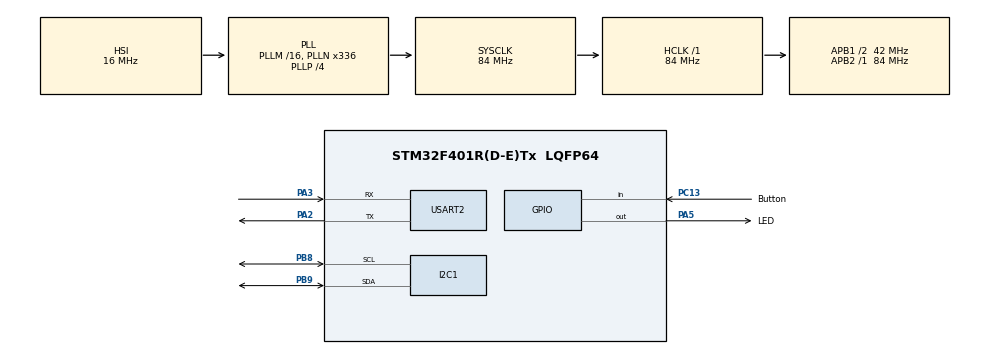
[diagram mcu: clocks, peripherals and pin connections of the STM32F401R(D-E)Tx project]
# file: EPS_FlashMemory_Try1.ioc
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Mcu.Family=STM32F4
Mcu.Name=STM32F401R(D-E)Tx
Mcu.Package=LQFP64
NVIC.PriorityGroup=NVIC_PRIORITYGROUP_0
PA2.Mode=Asynchronous
PA2.Signal=USART2_TX
PA3.Mode=Asynchronous
PA3.Signal=USART2_RX
PA5.GPIO_Label=LED
PA5.Signal=GPIO_Output
PB8.Mode=I2C
PB8.Signal=I2C1_SCL
PB9.Mode=I2C
PB9.Signal=I2C1_SDA
PC13-ANTI_TAMP.GPIO_Label=Button
PC13-ANTI_TAMP.Signal=GPIO_Input
ProjectManager.HeapSize=0x200
ProjectManager.StackSize=0x400
ProjectManager.TargetToolchain=STM32CubeIDE
RCC.48MHZClocksFreq_Value=48000000
RCC.AHBFreq_Value=84000000
RCC.APB1CLKDivider=RCC_HCLK_DIV2
RCC.APB1Freq_Value=42000000
RCC.APB1TimFreq_Value=84000000
RCC.APB2Freq_Value=84000000
RCC.APB2TimFreq_Value=84000000
RCC.CortexFreq_Value=84000000
RCC.HCLKFreq_Value=84000000
RCC.HSE_VALUE=8000000
RCC.HSI_VALUE=16000000
RCC.LSE_VALUE=32768
RCC.PLLN=336
RCC.PLLP=RCC_PLLP_DIV4
RCC.PLLQ=7
RCC.SYSCLKFreq_VALUE=84000000
RCC.SYSCLKSource=RCC_SYSCLKSOURCE_PLLCLK
RCC.VCOOutputFreq_Value=336000000
USART2.VirtualMode=VM_ASYNC
board=NUCLEO-F401RE

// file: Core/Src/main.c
/* USER CODE BEGIN Header */
/**
  ******************************************************************************
  * @file           : main.c
  * @brief          : Main program body
  ******************************************************************************
  * @attention
  *
  * Copyright (c) 2023 STMicroelectronics.
  * All rights reserved.
  *
  * This software is licensed under terms that can be found in the LICENSE file
  * in the root directory of this software component.
  * If no LICENSE file comes with this software, it is provided AS-IS.
  *
  ******************************************************************************
  */
/* USER CODE END Header */
#include "main.h"

/* USER CODE BEGIN Includes */
#include "MY_FLASH.h"

#include <string.h>
#include <stdio.h>
/* USER CODE END Includes */

 I2C_HandleTypeDef hi2c1;

UART_HandleTypeDef huart2;

void SystemClock_Config(void);
static void MX_GPIO_Init(void);
static void MX_USART2_UART_Init(void);
static void MX_I2C1_Init(void);

/* USER CODE BEGIN 0 */
uint8_t myTestWrite[6]= {'G','U','V','I','N','D'} ;
uint8_t myTestRead[6];

char uartBuf[100];
/* USER CODE END 0 */

int main(void)
{

  /* MCU Configuration--------------------------------------------------------*/

  /* Reset of all peripherals, Initializes the Flash interface and the Systick. */
  HAL_Init();

  /* Configure the system clock */
  SystemClock_Config();

  /* Initialize all configured peripherals */
  MX_GPIO_Init();
  MX_USART2_UART_Init();
  MX_I2C1_Init();
  /* USER CODE BEGIN 2 */
//  MY_FLASH_SetSectorAddrs(7, 0x08060000); //This function (from MY_FLASH.h) will specify which sector of main memory I want to store data.
                                          //here, sector 7 is used, and its starting address is specified.
                                          //Fore more details, refer stm32f4 reference manual page no. 45
 // MY_FLASH_WriteN(0, myTestWrite, 6, DATA_TYPE_8); // parameters of this function are ( index, data, data size, data type).
  /* USER CODE END 2 */

  /* Infinite loop */
  /* USER CODE BEGIN WHILE */
  while (1)
  {

	  uint8_t devices = 0u;
	    extern I2C_HandleTypeDef hi2c1;

	    printf("Searching for I2C devices on the bus...\n");
	    /* Values outside 0x03 and 0x77 are invalid. */
	    for (uint8_t i = 0x03u; i < 0x78u; i++)
	    {
	      uint8_t address = i << 1u ;
	      /* In case there is a positive feedback, print it out. */
	      if (HAL_OK == HAL_I2C_IsDeviceReady(&hi2c1, address, 3u, 10u))
	      {
	       // printf("Device found: 0x%02X\n", address);

	        sprintf(uartBuf, "Device found: 0x%02X\n",address);
	        HAL_UART_Transmit(&huart2, (uint8_t *)uartBuf, strlen(uartBuf), 100);

	        devices++;
	      }
	    }
	    /* Feedback of the total number of devices. */
	    if (0u == devices)
	    {
	      //printf("No device found.\n");
	      sprintf(uartBuf, "No device found.\n");
	      HAL_UART_Transmit(&huart2, (uint8_t *)uartBuf, strlen(uartBuf), 100);
	    }
	    else
	    {
	      //printf("Total found devices: %d\n", devices);
	      sprintf(uartBuf,"Total found devices: %d\n", devices);
	      HAL_UART_Transmit(&huart2, (uint8_t *)uartBuf, strlen(uartBuf), 100);
	    }

    /* USER CODE END WHILE */

    /* USER CODE BEGIN 3 */
	  // Read from flash memory
	 // MY_FLASH_ReadN(0, myTestRead, 6, DATA_TYPE_8);

	  //5. Print to UART terminal for debugging
	  			 	 	//  	sprintf(uartBuf, "Data  = %s\r\n",myTestRead);
	  			 	 	  //	HAL_UART_Transmit(&huart2, (uint8_t *)uartBuf, strlen(uartBuf), 100);

	  HAL_Delay(1000);
  }
  /* USER CODE END 3 */
}

void SystemClock_Config(void)
{
  RCC_OscInitTypeDef RCC_OscInitStruct = {0};
  RCC_ClkInitTypeDef RCC_ClkInitStruct = {0};

  /** Configure the main internal regulator output voltage
  */
  __HAL_RCC_PWR_CLK_ENABLE();
  __HAL_PWR_VOLTAGESCALING_CONFIG(PWR_REGULATOR_VOLTAGE_SCALE2);

  /** Initializes the RCC Oscillators according to the specified parameters
  * in the RCC_OscInitTypeDef structure.
  */
  RCC_OscInitStruct.OscillatorType = RCC_OSCILLATORTYPE_HSI;
  RCC_OscInitStruct.HSIState = RCC_HSI_ON;
  RCC_OscInitStruct.HSICalibrationValue = RCC_HSICALIBRATION_DEFAULT;
  RCC_OscInitStruct.PLL.PLLState = RCC_PLL_ON;
  RCC_OscInitStruct.PLL.PLLSource = RCC_PLLSOURCE_HSI;
  RCC_OscInitStruct.PLL.PLLM = 16;
  RCC_OscInitStruct.PLL.PLLN = 336;
  RCC_OscInitStruct.PLL.PLLP = RCC_PLLP_DIV4;
  RCC_OscInitStruct.PLL.PLLQ = 7;
  if (HAL_RCC_OscConfig(&RCC_OscInitStruct) != HAL_OK)
  {
    Error_Handler();
  }

  /** Initializes the CPU, AHB and APB buses clocks
  */
  RCC_ClkInitStruct.ClockType = RCC_CLOCKTYPE_HCLK|RCC_CLOCKTYPE_SYSCLK
                              |RCC_CLOCKTYPE_PCLK1|RCC_CLOCKTYPE_PCLK2;
  RCC_ClkInitStruct.SYSCLKSource = RCC_SYSCLKSOURCE_PLLCLK;
  RCC_ClkInitStruct.AHBCLKDivider = RCC_SYSCLK_DIV1;
  RCC_ClkInitStruct.APB1CLKDivider = RCC_HCLK_DIV2;
  RCC_ClkInitStruct.APB2CLKDivider = RCC_HCLK_DIV1;

  if (HAL_RCC_ClockConfig(&RCC_ClkInitStruct, FLASH_LATENCY_2) != HAL_OK)
  {
    Error_Handler();
  }
}

static void MX_I2C1_Init(void)
{

  hi2c1.Instance = I2C1;
  hi2c1.Init.ClockSpeed = 100000;
  hi2c1.Init.DutyCycle = I2C_DUTYCYCLE_2;
  hi2c1.Init.OwnAddress1 = 0;
  hi2c1.Init.AddressingMode = I2C_ADDRESSINGMODE_7BIT;
  hi2c1.Init.DualAddressMode = I2C_DUALADDRESS_DISABLE;
  hi2c1.Init.OwnAddress2 = 0;
  hi2c1.Init.GeneralCallMode = I2C_GENERALCALL_DISABLE;
  hi2c1.Init.NoStretchMode = I2C_NOSTRETCH_DISABLE;
  if (HAL_I2C_Init(&hi2c1) != HAL_OK)
  {
    Error_Handler();
  }

}

static void MX_USART2_UART_Init(void)
{

  huart2.Instance = USART2;
  huart2.Init.BaudRate = 115200;
  huart2.Init.WordLength = UART_WORDLENGTH_8B;
  huart2.Init.StopBits = UART_STOPBITS_1;
  huart2.Init.Parity = UART_PARITY_NONE;
  huart2.Init.Mode = UART_MODE_TX_RX;
  huart2.Init.HwFlowCtl = UART_HWCONTROL_NONE;
  huart2.Init.OverSampling = UART_OVERSAMPLING_16;
  if (HAL_UART_Init(&huart2) != HAL_OK)
  {
    Error_Handler();
  }

}

static void MX_GPIO_Init(void)
{
  GPIO_InitTypeDef GPIO_InitStruct = {0};

  /* GPIO Ports Clock Enable */
  __HAL_RCC_GPIOC_CLK_ENABLE();
  __HAL_RCC_GPIOA_CLK_ENABLE();
  __HAL_RCC_GPIOB_CLK_ENABLE();

  /*Configure GPIO pin Output Level */
  HAL_GPIO_WritePin(LED_GPIO_Port, LED_Pin, GPIO_PIN_RESET);

  /*Configure GPIO pin : Button_Pin */
  GPIO_InitStruct.Pin = Button_Pin;
  GPIO_InitStruct.Mode = GPIO_MODE_INPUT;
  GPIO_InitStruct.Pull = GPIO_NOPULL;
  HAL_GPIO_Init(Button_GPIO_Port, &GPIO_InitStruct);

  /*Configure GPIO pin : LED_Pin */
  GPIO_InitStruct.Pin = LED_Pin;
  GPIO_InitStruct.Mode = GPIO_MODE_OUTPUT_PP;
  GPIO_InitStruct.Pull = GPIO_NOPULL;
  GPIO_InitStruct.Speed = GPIO_SPEED_FREQ_LOW;
  HAL_GPIO_Init(LED_GPIO_Port, &GPIO_InitStruct);

}

void Error_Handler(void)
{
  __disable_irq();
  while (1)
  {
  }
}
